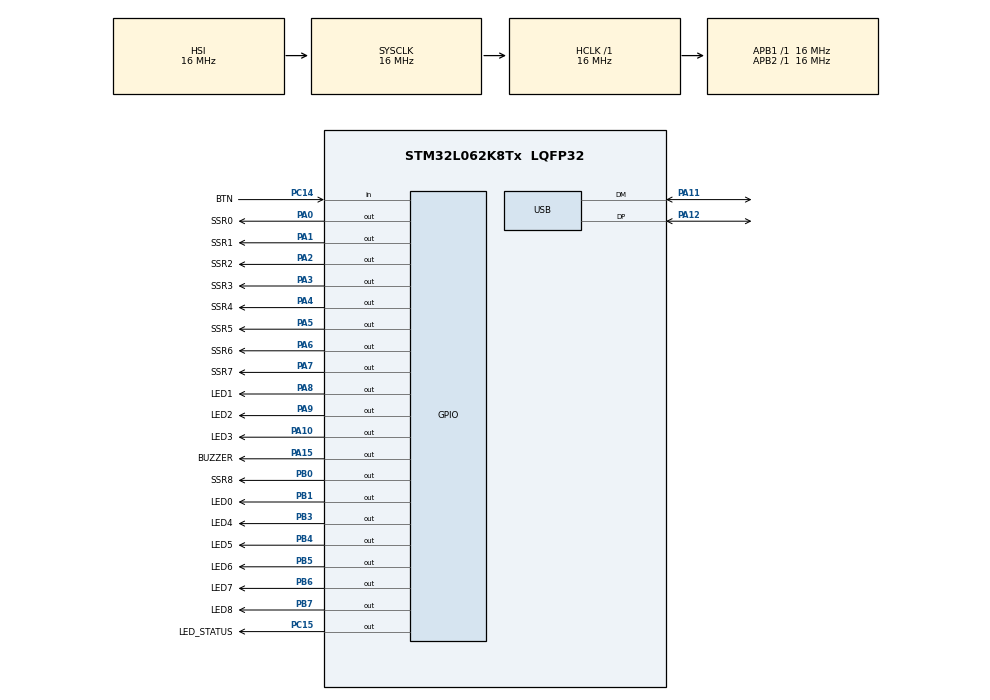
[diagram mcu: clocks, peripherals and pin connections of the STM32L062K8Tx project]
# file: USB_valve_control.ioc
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FREERTOS.INCLUDE_uxTaskPriorityGet=0
FREERTOS.INCLUDE_vTaskDelete=0
FREERTOS.Queues01=USBFromPCQueue,10,usbCommand_t,0,Static,USBFromPCQueueBuffer,USBFromPCQueueControlBlock
FREERTOS.Tasks01=defaultTask,24,64,StartDefaultTask,Default,NULL,Static,defaultTaskBuffer,defaultTaskControlBlock;USBParserTask,8,128,StartUSBParserTask,Default,NULL,Static,USBParserTaskBuffer,USBParserTaskControlBlock
FREERTOS.Timers01=LedDimmerTimer,LedDimmerTimerCallback,osTimerPeriodic,Default,NULL,Static,LedDimmerTimerControlBlock;ValveSwitchDelayTimer,ValveSwitchDelayTimerCallback,osTimerOnce,Default,NULL,Static,ValveSwitchDelayTimerControlBlock
FREERTOS.configMINIMAL_STACK_SIZE=64
FREERTOS.configRECORD_STACK_HIGH_ADDRESS=1
FREERTOS.configTIMER_TASK_STACK_DEPTH=128
FREERTOS.configTOTAL_HEAP_SIZE=600
FREERTOS.configUSE_NEWLIB_REENTRANT=1
FREERTOS.configUSE_PREEMPTION=0
FREERTOS.configUSE_TASK_NOTIFICATIONS=1
FREERTOS.configUSE_TRACE_FACILITY=0
Mcu.Family=STM32L0
Mcu.Name=STM32L062K8Tx
Mcu.Package=LQFP32
Mcu.UserConstants=OVERCONSUMPTION_MS,120000;BLINK_MS,1000;REPORTCYCLE_MS,5000
NVIC.TIM6_DAC_IRQn=true\:3\:0\:false\:false\:true\:false\:false\:true\:true
NVIC.TimeBase=TIM6_DAC_IRQn
NVIC.TimeBaseIP=TIM6
NVIC.USB_IRQn=true\:3\:0\:false\:false\:true\:true\:false\:true\:true
PA0.GPIO_Label=SSR0
PA0.Signal=GPIO_Output
PA1.GPIO_Label=SSR1
PA1.Signal=GPIO_Output
PA10.GPIO_Label=LED3
PA10.Signal=GPIO_Output
PA11.Mode=Device
PA11.Signal=USB_DM
PA12.Mode=Device
PA12.Signal=USB_DP
PA13.Mode=Serial_Wire
PA13.Signal=SYS_SWDIO
PA14.Mode=Serial_Wire
PA14.Signal=SYS_SWCLK
PA15.GPIO_Label=BUZZER
PA15.Signal=GPIO_Output
PA2.GPIO_Label=SSR2
PA2.Signal=GPIO_Output
PA3.GPIO_Label=SSR3
PA3.Signal=GPIO_Output
PA4.GPIO_Label=SSR4
PA4.Signal=GPIO_Output
PA5.GPIO_Label=SSR5
PA5.Signal=GPIO_Output
PA6.GPIO_Label=SSR6
PA6.Signal=GPIO_Output
PA7.GPIO_Label=SSR7
PA7.Signal=GPIO_Output
PA8.GPIO_Label=LED1
PA8.Signal=GPIO_Output
PA9.GPIO_Label=LED2
PA9.Signal=GPIO_Output
PB0.GPIO_Label=SSR8
PB0.Signal=GPIO_Output
PB1.GPIO_Label=LED0
PB1.Signal=GPIO_Output
PB3.GPIO_Label=LED4
PB3.Signal=GPIO_Output
PB4.GPIO_Label=LED5
PB4.Signal=GPIO_Output
PB5.GPIO_Label=LED6
PB5.Signal=GPIO_Output
PB6.GPIO_Label=LED7
PB6.Signal=GPIO_Output
PB7.GPIO_Label=LED8
PB7.Signal=GPIO_Output
PC14-OSC32_IN.GPIO_Label=BTN
PC14-OSC32_IN.Signal=GPIO_Input
PC15-OSC32_OUT.GPIO_Label=LED_STATUS
PC15-OSC32_OUT.Signal=GPIO_Output
ProjectManager.HeapSize=0x10
ProjectManager.StackSize=0x128
ProjectManager.TargetToolchain=STM32CubeIDE
RCC.AHBFreq_Value=16000000
RCC.APB1Freq_Value=16000000
RCC.APB1TimFreq_Value=16000000
RCC.APB2Freq_Value=16000000
RCC.APB2TimFreq_Value=16000000
RCC.HCLKFreq_Value=16000000
RCC.HSI16_VALUE=16000000
RCC.HSI48MClockSelection=RCC_USBCLKSOURCE_HSI48
RCC.HSI48_VALUE=48000000
RCC.HSI_VALUE=16000000
RCC.LSE_VALUE=32768
RCC.MSI_VALUE=2097000
RCC.PLLMUL=RCC_PLLMUL_6
RCC.PLLSourceVirtualString=RCC_PLLSOURCE_HSI
RCC.SYSCLKFreq_VALUE=16000000
RCC.SYSCLKSource=RCC_SYSCLKSOURCE_HSI
RCC.VCOOutputFreq_Value=96000000
TIM2.Channel-PWM\ Generation1\ No\ Output=TIM_CHANNEL_1
TIM2.ClockDivision=TIM_CLOCKDIVISION_DIV1
TIM2.Period=0
USB_DEVICE.APP_RX_DATA_SIZE=64
USB_DEVICE.APP_TX_DATA_SIZE=64
USB_DEVICE.CLASS_NAME_FS=CDC
USB_DEVICE.USBD_MAX_STR_DESC_SIZ=50
USB_DEVICE.VirtualMode=Cdc
USB_DEVICE.VirtualModeFS=Cdc_FS
VP_FREERTOS_VS_CMSIS_V2.Mode=CMSIS_V2
VP_SYS_VS_tim6.Mode=TIM6
VP_TIM2_VS_ClockSourceINT.Mode=Internal
VP_TIM2_VS_no_output1.Mode=PWM Generation1 No Output
VP_USB_DEVICE_VS_USB_DEVICE_CDC_FS.Mode=CDC_FS
board=custom

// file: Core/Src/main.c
/* USER CODE BEGIN Header */
/**
  ******************************************************************************
  * @file           : main.c
  * @brief          : Main program body
  ******************************************************************************
  * @attention
  *
  * Copyright (c) 2025 STMicroelectronics.
  * All rights reserved.
  *
  * This software is licensed under terms that can be found in the LICENSE file
  * in the root directory of this software component.
  * If no LICENSE file comes with this software, it is provided AS-IS.
  *
  ******************************************************************************
  */
/* USER CODE END Header */
#include "main.h"
#include "cmsis_os.h"
#include "usb_device.h"

/* USER CODE BEGIN Includes */
#include "queue.h"
#include "usbd_cdc_if.h"
/* USER CODE END Includes */

typedef StaticTask_t osStaticThreadDef_t;
typedef StaticQueue_t osStaticMessageQDef_t;
typedef StaticTimer_t osStaticTimerDef_t;

TIM_HandleTypeDef htim2;

/* Definitions for defaultTask */
osThreadId_t defaultTaskHandle;
uint32_t defaultTaskBuffer[ 64 ];
osStaticThreadDef_t defaultTaskControlBlock;
const osThreadAttr_t defaultTask_attributes = {
  .name = "defaultTask",
  .cb_mem = &defaultTaskControlBlock,
  .cb_size = sizeof(defaultTaskControlBlock),
  .stack_mem = &defaultTaskBuffer[0],
  .stack_size = sizeof(defaultTaskBuffer),
  .priority = (osPriority_t) osPriorityNormal,
};
/* Definitions for USBParserTask */
osThreadId_t USBParserTaskHandle;
uint32_t USBParserTaskBuffer[ 128 ];
osStaticThreadDef_t USBParserTaskControlBlock;
const osThreadAttr_t USBParserTask_attributes = {
  .name = "USBParserTask",
  .cb_mem = &USBParserTaskControlBlock,
  .cb_size = sizeof(USBParserTaskControlBlock),
  .stack_mem = &USBParserTaskBuffer[0],
  .stack_size = sizeof(USBParserTaskBuffer),
  .priority = (osPriority_t) osPriorityLow,
};
/* Definitions for USBFromPCQueue */
osMessageQueueId_t USBFromPCQueueHandle;
uint8_t USBFromPCQueueBuffer[ 10 * sizeof( usbCommand_t ) ];
osStaticMessageQDef_t USBFromPCQueueControlBlock;
const osMessageQueueAttr_t USBFromPCQueue_attributes = {
  .name = "USBFromPCQueue",
  .cb_mem = &USBFromPCQueueControlBlock,
  .cb_size = sizeof(USBFromPCQueueControlBlock),
  .mq_mem = &USBFromPCQueueBuffer,
  .mq_size = sizeof(USBFromPCQueueBuffer)
};
/* Definitions for LedDimmerTimer */
osTimerId_t LedDimmerTimerHandle;
osStaticTimerDef_t LedDimmerTimerControlBlock;
const osTimerAttr_t LedDimmerTimer_attributes = {
  .name = "LedDimmerTimer",
  .cb_mem = &LedDimmerTimerControlBlock,
  .cb_size = sizeof(LedDimmerTimerControlBlock),
};
/* Definitions for ValveSwitchDelayTimer */
osTimerId_t ValveSwitchDelayTimerHandle;
osStaticTimerDef_t ValveSwitchDelayTimerControlBlock;
const osTimerAttr_t ValveSwitchDelayTimer_attributes = {
  .name = "ValveSwitchDelayTimer",
  .cb_mem = &ValveSwitchDelayTimerControlBlock,
  .cb_size = sizeof(ValveSwitchDelayTimerControlBlock),
};
/* USER CODE BEGIN PV */

static IndicatorstateTypeDef led_dimmer_sp[NB_LED];

uint8_t waitQueue[NB_SSR];
SsrstateTypeDef channelStatus[NB_SSR];
uint8_t currentlyPreHeating = EMPTY_SLOT;

/* USER CODE END PV */

void SystemClock_Config(void);
static void MX_GPIO_Init(void);
static void MX_TIM2_Init(void);
void StartDefaultTask(void *argument);
void StartUSBParserTask(void *argument);
void LedDimmerTimerCallback(void *argument);
void ValveSwitchDelayTimerCallback(void *argument);

/* USER CODE BEGIN PFP */

void timeStepElapsed ();
void stop (uint8_t channelNb);
void addToEnableRequests (uint8_t channelNb);
void InitWaitQueue ();

/* USER CODE END PFP */

int main(void)
{

  /* MCU Configuration--------------------------------------------------------*/

  /* Reset of all peripherals, Initializes the Flash interface and the Systick. */
  HAL_Init();

  /* USER CODE BEGIN Init */
  InitWaitQueue();
  /* USER CODE END Init */

  /* Configure the system clock */
  SystemClock_Config();

  /* Initialize all configured peripherals */
  MX_GPIO_Init();
  MX_TIM2_Init();

  /* Init scheduler */
  osKernelInitialize();

  /* Create the timer(s) */
  /* creation of LedDimmerTimer */
  LedDimmerTimerHandle = osTimerNew(LedDimmerTimerCallback, osTimerPeriodic, NULL, &LedDimmerTimer_attributes);

  /* creation of ValveSwitchDelayTimer */
  ValveSwitchDelayTimerHandle = osTimerNew(ValveSwitchDelayTimerCallback, osTimerOnce, NULL, &ValveSwitchDelayTimer_attributes);

  /* Create the queue(s) */
  /* creation of USBFromPCQueue */
  USBFromPCQueueHandle = osMessageQueueNew (10, sizeof(usbCommand_t), &USBFromPCQueue_attributes);

  /* Create the thread(s) */
  /* creation of defaultTask */
  defaultTaskHandle = osThreadNew(StartDefaultTask, NULL, &defaultTask_attributes);

  /* creation of USBParserTask */
  USBParserTaskHandle = osThreadNew(StartUSBParserTask, NULL, &USBParserTask_attributes);

  /* Start scheduler */
  osKernelStart();

  /* We should never get here as control is now taken by the scheduler */

  /* Infinite loop */
  while (1)
  {

  }
}

void SystemClock_Config(void)
{
  RCC_OscInitTypeDef RCC_OscInitStruct = {0};
  RCC_ClkInitTypeDef RCC_ClkInitStruct = {0};
  RCC_PeriphCLKInitTypeDef PeriphClkInit = {0};

  /** Configure the main internal regulator output voltage
  */
  __HAL_PWR_VOLTAGESCALING_CONFIG(PWR_REGULATOR_VOLTAGE_SCALE1);

  /** Initializes the RCC Oscillators according to the specified parameters
  * in the RCC_OscInitTypeDef structure.
  */
  RCC_OscInitStruct.OscillatorType = RCC_OSCILLATORTYPE_HSI|RCC_OSCILLATORTYPE_HSI48;
  RCC_OscInitStruct.HSIState = RCC_HSI_ON;
  RCC_OscInitStruct.HSICalibrationValue = RCC_HSICALIBRATION_DEFAULT;
  RCC_OscInitStruct.HSI48State = RCC_HSI48_ON;
  RCC_OscInitStruct.PLL.PLLState = RCC_PLL_NONE;
  if (HAL_RCC_OscConfig(&RCC_OscInitStruct) != HAL_OK)
  {
    Error_Handler();
  }

  /** Initializes the CPU, AHB and APB buses clocks
  */
  RCC_ClkInitStruct.ClockType = RCC_CLOCKTYPE_HCLK|RCC_CLOCKTYPE_SYSCLK
                              |RCC_CLOCKTYPE_PCLK1|RCC_CLOCKTYPE_PCLK2;
  RCC_ClkInitStruct.SYSCLKSource = RCC_SYSCLKSOURCE_HSI;
  RCC_ClkInitStruct.AHBCLKDivider = RCC_SYSCLK_DIV1;
  RCC_ClkInitStruct.APB1CLKDivider = RCC_HCLK_DIV1;
  RCC_ClkInitStruct.APB2CLKDivider = RCC_HCLK_DIV1;

  if (HAL_RCC_ClockConfig(&RCC_ClkInitStruct, FLASH_LATENCY_0) != HAL_OK)
  {
    Error_Handler();
  }
  PeriphClkInit.PeriphClockSelection = RCC_PERIPHCLK_USB;
  PeriphClkInit.UsbClockSelection = RCC_USBCLKSOURCE_HSI48;
  if (HAL_RCCEx_PeriphCLKConfig(&PeriphClkInit) != HAL_OK)
  {
    Error_Handler();
  }
}

static void MX_TIM2_Init(void)
{

  TIM_ClockConfigTypeDef sClockSourceConfig = {0};
  TIM_MasterConfigTypeDef sMasterConfig = {0};
  TIM_OC_InitTypeDef sConfigOC = {0};

  htim2.Instance = TIM2;
  htim2.Init.Prescaler = 0;
  htim2.Init.CounterMode = TIM_COUNTERMODE_UP;
  htim2.Init.Period = 0;
  htim2.Init.ClockDivision = TIM_CLOCKDIVISION_DIV1;
  htim2.Init.AutoReloadPreload = TIM_AUTORELOAD_PRELOAD_DISABLE;
  if (HAL_TIM_Base_Init(&htim2) != HAL_OK)
  {
    Error_Handler();
  }
  sClockSourceConfig.ClockSource = TIM_CLOCKSOURCE_INTERNAL;
  if (HAL_TIM_ConfigClockSource(&htim2, &sClockSourceConfig) != HAL_OK)
  {
    Error_Handler();
  }
  if (HAL_TIM_PWM_Init(&htim2) != HAL_OK)
  {
    Error_Handler();
  }
  sMasterConfig.MasterOutputTrigger = TIM_TRGO_RESET;
  sMasterConfig.MasterSlaveMode = TIM_MASTERSLAVEMODE_DISABLE;
  if (HAL_TIMEx_MasterConfigSynchronization(&htim2, &sMasterConfig) != HAL_OK)
  {
    Error_Handler();
  }
  sConfigOC.OCMode = TIM_OCMODE_PWM1;
  sConfigOC.Pulse = 0;
  sConfigOC.OCPolarity = TIM_OCPOLARITY_HIGH;
  sConfigOC.OCFastMode = TIM_OCFAST_DISABLE;
  if (HAL_TIM_PWM_ConfigChannel(&htim2, &sConfigOC, TIM_CHANNEL_1) != HAL_OK)
  {
    Error_Handler();
  }

}

static void MX_GPIO_Init(void)
{
  GPIO_InitTypeDef GPIO_InitStruct = {0};

  /* GPIO Ports Clock Enable */
  __HAL_RCC_GPIOC_CLK_ENABLE();
  __HAL_RCC_GPIOA_CLK_ENABLE();
  __HAL_RCC_GPIOB_CLK_ENABLE();

  /*Configure GPIO pin Output Level */
  HAL_GPIO_WritePin(LED_STATUS_GPIO_Port, LED_STATUS_Pin, GPIO_PIN_RESET);

  /*Configure GPIO pin Output Level */
  HAL_GPIO_WritePin(GPIOA, SSR0_Pin|SSR1_Pin|SSR2_Pin|SSR3_Pin
                          |SSR4_Pin|SSR5_Pin|SSR6_Pin|SSR7_Pin
                          |LED1_Pin|LED2_Pin|LED3_Pin|BUZZER_Pin, GPIO_PIN_RESET);

  /*Configure GPIO pin Output Level */
  HAL_GPIO_WritePin(GPIOB, SSR8_Pin|LED0_Pin|LED4_Pin|LED5_Pin
                          |LED6_Pin|LED7_Pin|LED8_Pin, GPIO_PIN_RESET);

  /*Configure GPIO pin : BTN_Pin */
  GPIO_InitStruct.Pin = BTN_Pin;
  GPIO_InitStruct.Mode = GPIO_MODE_INPUT;
  GPIO_InitStruct.Pull = GPIO_NOPULL;
  HAL_GPIO_Init(BTN_GPIO_Port, &GPIO_InitStruct);

  /*Configure GPIO pin : LED_STATUS_Pin */
  GPIO_InitStruct.Pin = LED_STATUS_Pin;
  GPIO_InitStruct.Mode = GPIO_MODE_OUTPUT_PP;
  GPIO_InitStruct.Pull = GPIO_NOPULL;
  GPIO_InitStruct.Speed = GPIO_SPEED_FREQ_LOW;
  HAL_GPIO_Init(LED_STATUS_GPIO_Port, &GPIO_InitStruct);

  /*Configure GPIO pins : SSR0_Pin SSR1_Pin SSR2_Pin SSR3_Pin
                           SSR4_Pin SSR5_Pin SSR6_Pin SSR7_Pin
                           LED1_Pin LED2_Pin LED3_Pin BUZZER_Pin */
  GPIO_InitStruct.Pin = SSR0_Pin|SSR1_Pin|SSR2_Pin|SSR3_Pin
                          |SSR4_Pin|SSR5_Pin|SSR6_Pin|SSR7_Pin
                          |LED1_Pin|LED2_Pin|LED3_Pin|BUZZER_Pin;
  GPIO_InitStruct.Mode = GPIO_MODE_OUTPUT_PP;
  GPIO_InitStruct.Pull = GPIO_NOPULL;
  GPIO_InitStruct.Speed = GPIO_SPEED_FREQ_LOW;
  HAL_GPIO_Init(GPIOA, &GPIO_InitStruct);

  /*Configure GPIO pins : SSR8_Pin LED0_Pin LED4_Pin LED5_Pin
                           LED6_Pin LED7_Pin LED8_Pin */
  GPIO_InitStruct.Pin = SSR8_Pin|LED0_Pin|LED4_Pin|LED5_Pin
                          |LED6_Pin|LED7_Pin|LED8_Pin;
  GPIO_InitStruct.Mode = GPIO_MODE_OUTPUT_PP;
  GPIO_InitStruct.Pull = GPIO_NOPULL;
  GPIO_InitStruct.Speed = GPIO_SPEED_FREQ_LOW;
  HAL_GPIO_Init(GPIOB, &GPIO_InitStruct);

}

/* USER CODE BEGIN 4 */

void SetSwitch(uint8_t switchNb, OnoffstateTypeDef state)
{
  GPIO_TypeDef *gpioPort;
  uint16_t gpioPin;
  switch (switchNb)
  {
    case 0:
      gpioPort = GPIOA;
      gpioPin = SSR0_Pin;
      break;
    case 1:
      gpioPort = GPIOA;
      gpioPin = SSR1_Pin;
      break;
    case 2:
      gpioPort = GPIOA;
      gpioPin = SSR2_Pin;
      break;
    case 3:
      gpioPort = GPIOA;
      gpioPin = SSR3_Pin;
      break;
    case 4:
      gpioPort = GPIOA;
      gpioPin = SSR4_Pin;
      break;
    case 5:
      gpioPort = GPIOA;
      gpioPin = SSR5_Pin;
      break;
    case 6:
      gpioPort = GPIOA;
      gpioPin = SSR6_Pin;
      break;
    case 7:
      gpioPort = GPIOA;
      gpioPin = SSR7_Pin;
      break;
    default:
      gpioPort = GPIOB;
      gpioPin = SSR8_Pin;
      break;
  }
  if (state == ON)
  {
    HAL_GPIO_WritePin(gpioPort, gpioPin, GPIO_PIN_SET);
  }
  else
  {
    HAL_GPIO_WritePin(gpioPort, gpioPin, GPIO_PIN_RESET);
  }
}

void SetLed(uint8_t ledNb, OnoffstateTypeDef state)
{
  GPIO_TypeDef *gpioPort;
  uint16_t gpioPin;
  switch (ledNb)
  {
    case 0:
      gpioPort = GPIOB;
      gpioPin = LED0_Pin;
      break;
    case 1:
      gpioPort = GPIOA;
      gpioPin = LED1_Pin;
      break;
    case 2:
      gpioPort = GPIOA;
      gpioPin = LED2_Pin;
      break;
    case 3:
      gpioPort = GPIOA;
      gpioPin = LED3_Pin;
      break;
    case 4:
      gpioPort = GPIOB;
      gpioPin = LED4_Pin;
      break;
    case 5:
      gpioPort = GPIOB;
      gpioPin = LED5_Pin;
      break;
    case 6:
      gpioPort = GPIOB;
      gpioPin = LED6_Pin;
      break;
    case 7:
      gpioPort = GPIOB;
      gpioPin = LED7_Pin;
      break;
    case 8:
      gpioPort = GPIOB;
      gpioPin = LED8_Pin;
      break;
    default:
      gpioPort = LED_STATUS_GPIO_Port;
      gpioPin = LED_STATUS_Pin;
      break;
  }
  if (state == ON)
  {
    HAL_GPIO_WritePin(gpioPort, gpioPin, GPIO_PIN_RESET);
  }
  else
  {
    HAL_GPIO_WritePin(gpioPort, gpioPin, GPIO_PIN_SET);
  }
}

void InitWaitQueue()
{
  for (uint8_t i = 0; i < NB_SSR; i++)
  {
    waitQueue[i] = EMPTY_SLOT;
  }
  currentlyPreHeating = EMPTY_SLOT;
}

void addToEnableRequests(uint8_t channelNb)
{
  if (channelStatus[channelNb] != SSR_OFF)
    return;
  if (currentlyPreHeating == EMPTY_SLOT)
  {
    currentlyPreHeating = channelNb;
    channelStatus[channelNb] = SSR_ON;
  }
  else
  {
    for (uint8_t i = 0; i < NB_SSR; i++)
    {
      if (waitQueue[i] == channelNb)
        break;

      if (waitQueue[i] == EMPTY_SLOT)
      {
        waitQueue[i] = channelNb;
        channelStatus[channelNb] = SSR_PENDING_ON;
        if (i == 0)
        {
          //timer started. first element inserted
          osTimerStart(ValveSwitchDelayTimerHandle,
          OVERCONSUMPTION_MS);
        }
        break;
      }
    }
  }

}

void timeStepElapsed()
{
  currentlyPreHeating = waitQueue[0];
  channelStatus[currentlyPreHeating] = SSR_ON;

  for (uint8_t j = 0; j < NB_SSR - 1; j++)
  {
    waitQueue[j] = waitQueue[j + 1];
  }
  waitQueue[NB_SSR - 1] = EMPTY_SLOT;

  if (waitQueue[0] != EMPTY_SLOT)
  {
    // timer started. elements still in the queue
    osTimerStart(ValveSwitchDelayTimerHandle, OVERCONSUMPTION_MS);
  }

}

void stop(uint8_t channelNb)
{
  for (uint8_t i = 0; i < NB_SSR; i++)
  {
    if (waitQueue[i] == channelNb)
      waitQueue[i] = EMPTY_SLOT;

    if ((waitQueue[i] == EMPTY_SLOT) && (i < (NB_SSR - 1)))
    {
      waitQueue[i] = waitQueue[i + 1];
      waitQueue[i + 1] = EMPTY_SLOT;
    }
  }
  channelStatus[channelNb] = SSR_OFF;
  if (currentlyPreHeating == channelNb)
  {
    timeStepElapsed();
  }
}

/* USER CODE END 4 */

void StartDefaultTask(void *argument)
{
  /* init code for USB_DEVICE */
  MX_USB_DEVICE_Init();
  /* USER CODE BEGIN 5 */
  osTimerStart(LedDimmerTimerHandle, BLINK_MS);
  /* Infinite loop */
  for (;;)
  {
    osDelay(1);
    for (uint8_t i = 0; i < NB_SSR; i++)
    {
      switch (channelStatus[i])
      {
        case SSR_OFF:
          SetSwitch(i, OFF);
          led_dimmer_sp[i] = IND_OFF;
          break;
        case SSR_ON:
          SetSwitch(i, ON);
          led_dimmer_sp[i] = IND_ON;
          break;
        case SSR_PENDING_ON:
          SetSwitch(i, OFF);
          led_dimmer_sp[i] = IND_BLINK;
          break;
        default:
          break;
      }
    }
  }
  /* USER CODE END 5 */
}

void StartUSBParserTask(void *argument)
{
  /* USER CODE BEGIN StartUSBParserTask */
  OnoffstateTypeDef blinkState = OFF;
  usbCommand_t newCmd;
  uint8_t channelNb;
  uint8_t outBuffer[2];
  outBuffer[1] = STR_CR;
  /* Infinite loop */
  for (;;)
  {
    if (xQueueReceive(USBFromPCQueueHandle, &newCmd, portMAX_DELAY))
    {
      if (newCmd.byte[0] < '0' || newCmd.byte[0] > '8')
        continue;

      if (blinkState == ON){
        blinkState = OFF;
      } else {
        blinkState = ON;
      }
      SetLed(9, blinkState);
      channelNb = newCmd.byte[0] - 0x30;
      switch (newCmd.byte[1])
      {
        case '+':
          addToEnableRequests(channelNb);
          break;
        case '-':
          stop(channelNb);
          break;
        case '?':
          switch (channelStatus[channelNb])
          {
            case SSR_OFF:
              outBuffer[0] = '0';
              break;
            case SSR_ON:
              outBuffer[0] = '1';
              break;
            case SSR_PENDING_ON:
              outBuffer[0] = '1';
              break;
            default:
              outBuffer[0] = 'X';
              break;
          }
          CDC_Transmit_FS(outBuffer, 2);
          break;
        default:
          break;
      }
    }
    osDelay(1);
  }
  /* USER CODE END StartUSBParserTask */
}

/* LedDimmerTimerCallback function */
void LedDimmerTimerCallback(void *argument)
{
  /* USER CODE BEGIN LedDimmerTimerCallback */
  static OnoffstateTypeDef oldLedState[NB_LED];

  for (uint8_t i = 0; i < NB_LED; i++)
  {
    switch (led_dimmer_sp[i])
    {
      case IND_OFF:
        SetLed(i, OFF);
        oldLedState[i] = OFF;
        break;
      case IND_ON:
        SetLed(i, ON);
        oldLedState[i] = ON;
        break;
      case IND_BLINK:
        if (oldLedState[i] == ON)
        {
          SetLed(i, OFF);
          oldLedState[i] = OFF;
        }
        else
        {
          SetLed(i, ON);
          oldLedState[i] = ON;
        }
        break;
    }
  }

  /* USER CODE END LedDimmerTimerCallback */
}

/* ValveSwitchDelayTimerCallback function */
void ValveSwitchDelayTimerCallback(void *argument)
{
  /* USER CODE BEGIN ValveSwitchDelayTimerCallback */
  timeStepElapsed();
  /* USER CODE END ValveSwitchDelayTimerCallback */
}

void HAL_TIM_PeriodElapsedCallback(TIM_HandleTypeDef *htim)
{
  if (htim->Instance == TIM6) {
    HAL_IncTick();
  }
}

void Error_Handler(void)
{
  __disable_irq();
  while (1)
  {
  }
}
